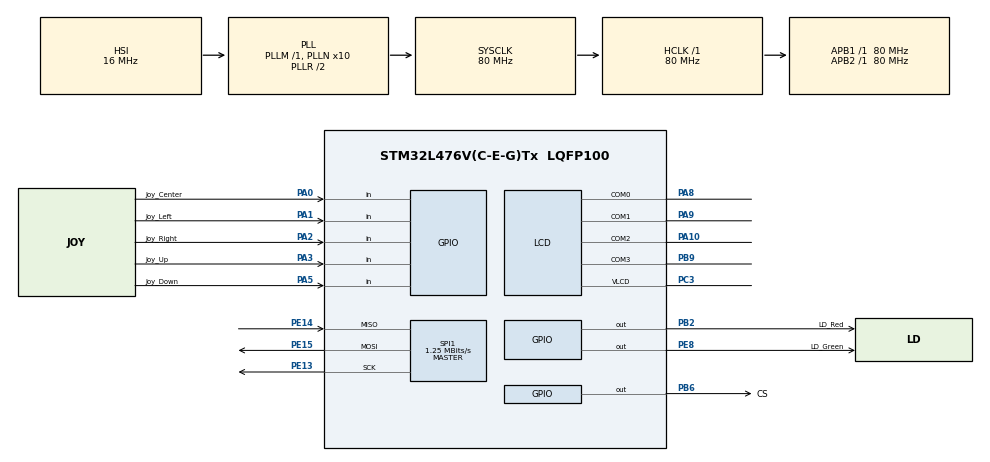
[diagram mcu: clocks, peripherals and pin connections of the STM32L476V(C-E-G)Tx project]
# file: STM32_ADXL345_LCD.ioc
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Mcu.Family=STM32L4
Mcu.Name=STM32L476V(C-E-G)Tx
Mcu.Package=LQFP100
NVIC.PriorityGroup=NVIC_PRIORITYGROUP_4
NVIC.TIM4_IRQn=true\:0\:0\:false\:false\:true\:true\:true\:true
NVIC.TIM6_DAC_IRQn=true\:0\:0\:false\:false\:true\:true\:true\:true
NVIC.TIM7_IRQn=true\:0\:0\:false\:false\:true\:true\:true\:true
PA0.GPIO_Label=Joy_Center
PA0.Signal=GPIO_Input
PA1.GPIO_Label=Joy_Left
PA1.Signal=GPIO_Input
PA10.Mode=1/4 Duty Cycle
PA10.Signal=LCD_COM2
PA13\ (JTMS-SWDIO).Mode=Serial_Wire
PA13\ (JTMS-SWDIO).Signal=SYS_JTMS-SWDIO
PA14\ (JTCK-SWCLK).Mode=Serial_Wire
PA14\ (JTCK-SWCLK).Signal=SYS_JTCK-SWCLK
PA2.GPIO_Label=Joy_Right
PA2.Signal=GPIO_Input
PA3.GPIO_Label=Joy_Up
PA3.Signal=GPIO_Input
PA5.GPIO_Label=Joy_Down
PA5.Signal=GPIO_Input
PA8.Mode=1/4 Duty Cycle
PA8.Signal=LCD_COM0
PA9.Mode=1/4 Duty Cycle
PA9.Signal=LCD_COM1
PB2.GPIO_Label=LD_Red
PB2.Signal=GPIO_Output
PB6.GPIO_Label=CS
PB6.Signal=GPIO_Output
PB9.Mode=1/4 Duty Cycle
PB9.Signal=LCD_COM3
PC14-OSC32_IN\ (PC14).Mode=LSE-External-Oscillator
PC14-OSC32_IN\ (PC14).Signal=RCC_OSC32_IN
PC15-OSC32_OUT\ (PC15).Mode=LSE-External-Oscillator
PC15-OSC32_OUT\ (PC15).Signal=RCC_OSC32_OUT
PC3.Mode=1/4 Duty Cycle
PC3.Signal=LCD_VLCD
PE13.Mode=Full_Duplex_Master
PE13.Signal=SPI1_SCK
PE14.Mode=Full_Duplex_Master
PE14.Signal=SPI1_MISO
PE15.Mode=Full_Duplex_Master
PE15.Signal=SPI1_MOSI
PE8.GPIO_Label=LD_Green
PE8.Signal=GPIO_Output
ProjectManager.HeapSize=0x200
ProjectManager.StackSize=0x400
ProjectManager.TargetToolchain=STM32CubeIDE
RCC.ADCFreq_Value=64000000
RCC.AHBFreq_Value=80000000
RCC.APB1Freq_Value=80000000
RCC.APB1TimFreq_Value=80000000
RCC.APB2Freq_Value=80000000
RCC.APB2TimFreq_Value=80000000
RCC.CortexFreq_Value=80000000
RCC.HCLKFreq_Value=80000000
RCC.HSE_VALUE=8000000
RCC.HSI_VALUE=16000000
RCC.MSI_VALUE=4000000
RCC.PLLN=10
RCC.PLLSourceVirtual=RCC_PLLSOURCE_HSI
RCC.SYSCLKFreq_VALUE=80000000
RCC.SYSCLKSource=RCC_SYSCLKSOURCE_PLLCLK
RCC.USBFreq_Value=64000000
RCC.VCOOutputFreq_Value=160000000
SPI1.BaudRatePrescaler=SPI_BAUDRATEPRESCALER_64
SPI1.CLKPhase=SPI_PHASE_2EDGE
SPI1.CLKPolarity=SPI_POLARITY_HIGH
SPI1.CalculateBaudRate=1.25 MBits/s
SPI1.DataSize=SPI_DATASIZE_8BIT
SPI1.Direction=SPI_DIRECTION_2LINES
SPI1.Mode=SPI_MODE_MASTER
SPI1.VirtualType=VM_MASTER
TIM4.Period=1000-1
TIM4.Prescaler=8000-1
TIM6.Period=1000-1
TIM6.Prescaler=25-1
TIM7.Period=1000-1
TIM7.Prescaler=25-1
VP_TIM4_VS_ClockSourceINT.Mode=Internal
VP_TIM6_VS_ClockSourceINT.Mode=Enable_Timer
VP_TIM7_VS_ClockSourceINT.Mode=Enable_Timer
board=custom

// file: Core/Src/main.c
/* USER CODE BEGIN Header */
/**
  ******************************************************************************
  * @file           : main.c
  * @brief          : Main program body
  ******************************************************************************
  * @attention
  *
  * Copyright (c) 2024 STMicroelectronics.
  * All rights reserved.
  *
  * This software is licensed under terms that can be found in the LICENSE file
  * in the root directory of this software component.
  * If no LICENSE file comes with this software, it is provided AS-IS.
  *
  ******************************************************************************
  */
/* USER CODE END Header */
#include "main.h"

/* USER CODE BEGIN Includes */
#include <stdint.h>
#include <stdio.h>

#include "stm32l476g_discovery_glass_lcd.h"

#include "adxl.h"
#include "utils.h"

/* USER CODE END Includes */

LCD_HandleTypeDef hlcd;

SPI_HandleTypeDef hspi1;

TIM_HandleTypeDef htim4;
TIM_HandleTypeDef htim6;
TIM_HandleTypeDef htim7;

void SystemClock_Config(void);
static void MX_GPIO_Init(void);
static void MX_LCD_Init(void);
static void MX_SPI1_Init(void);
static void MX_TIM6_Init(void);
static void MX_TIM7_Init(void);
static void MX_TIM4_Init(void);

/* USER CODE BEGIN 0 */

uint8_t adxl_address = 0x32;

// Flags
uint8_t adxl_read_state = 0; // read value from adxl 3200 hz
uint8_t lcd_image_value_state = 0; //send value to lcd 10 on 1 second
uint8_t adxl_counter_state = 0; // counter state
//
// counter
unsigned long long time_counter = 0; // count microseconds

uint8_t data_rec[6]; // buffer for analog value
int16_t  x,y,z;
float xg,yg,zg;

float acceleration = 0;

char acc_conv_value[7]; // Need space for the null terminator '\0'

void callback_image_value()
{
	acceleration = calculate_acceleration(xg,yg,zg);

	sprintf(acc_conv_value, "%.4f", acceleration);

	BSP_LCD_GLASS_DisplayString((uint8_t *)acc_conv_value);
}
// rows column
#define rows 50
#define column 4

float buffer_values[rows][column];

uint8_t rows_count  = 0;

void callback_adxl_read(){
    adxl_read(&hspi1,adxl_address, data_rec);

	 x = ((data_rec[1]<<8)| data_rec[0]);
	 y = ((data_rec[3]<<8)| data_rec[2]);
	 z = ((data_rec[5]<<8)| data_rec[4]);

	 xg = x * 0.0078;
	 yg = y * 0.0078;
	 zg = z * 0.0078;

	 if(rows_count <= rows)
	 {
		 buffer_values[rows_count][0] = xg;
		 buffer_values[rows_count][1] = yg;
		 buffer_values[rows_count][2] = zg;
		 buffer_values[rows_count][column -1] = time_counter;// last value

		 rows_count += 1;
	 }
}

// Interrupt
void HAL_TIM_PeriodElapsedCallback(TIM_HandleTypeDef *htim)
{
	// counter
	if(htim->Instance == TIM4)
	{
		lcd_image_value_state = 1;
		HAL_GPIO_TogglePin(GPIOE, GPIO_PIN_8);
	}
	// read from adxl
	if(htim->Instance == TIM6)
	{
		adxl_read_state=1;
	}

	if(htim->Instance == TIM7)
	{
		adxl_counter_state = 1;

	}
};

/* USER CODE END 0 */

int main(void)
{

  /* MCU Configuration--------------------------------------------------------*/

  /* Reset of all peripherals, Initializes the Flash interface and the Systick. */
  HAL_Init();

  /* Configure the system clock */
  SystemClock_Config();

  /* Initialize all configured peripherals */
  MX_GPIO_Init();
  MX_LCD_Init();
  MX_SPI1_Init();
  MX_TIM6_Init();
  MX_TIM7_Init();
  MX_TIM4_Init();
  /* USER CODE BEGIN 2 */

  //Init timers
  HAL_TIM_Base_Start_IT(&htim4);
  HAL_TIM_Base_Start_IT(&htim6);
  HAL_TIM_Base_Start_IT(&htim7);

  // init LCD
  BSP_LCD_GLASS_Init();
  BSP_LCD_GLASS_Contrast(5);

 // init adxl
  // !!! need to init adxl !!!
  adxl_init(&hspi1);
  /* USER CODE END 2 */

  /* Infinite loop */
  while (1)
  {

    /* USER CODE BEGIN 3 */
	  if(adxl_counter_state == 1)
	  {
		  time_counter ++;
		  adxl_counter_state = 0;
	  }

	  if(adxl_read_state == 1)
	  {
		callback_adxl_read();
		adxl_read_state=0;
	  }

	  if(lcd_image_value_state == 1)
	  {
		 callback_image_value();
		 lcd_image_value_state = 0;
	  }

  }
  /* USER CODE END 3 */
}

void SystemClock_Config(void)
{
  RCC_OscInitTypeDef RCC_OscInitStruct = {0};
  RCC_ClkInitTypeDef RCC_ClkInitStruct = {0};

  /** Configure the main internal regulator output voltage
  */
  if (HAL_PWREx_ControlVoltageScaling(PWR_REGULATOR_VOLTAGE_SCALE1) != HAL_OK)
  {
    Error_Handler();
  }

  /** Initializes the RCC Oscillators according to the specified parameters
  * in the RCC_OscInitTypeDef structure.
  */
  RCC_OscInitStruct.OscillatorType = RCC_OSCILLATORTYPE_HSI|RCC_OSCILLATORTYPE_LSI;
  RCC_OscInitStruct.HSIState = RCC_HSI_ON;
  RCC_OscInitStruct.HSICalibrationValue = RCC_HSICALIBRATION_DEFAULT;
  RCC_OscInitStruct.LSIState = RCC_LSI_ON;
  RCC_OscInitStruct.PLL.PLLState = RCC_PLL_ON;
  RCC_OscInitStruct.PLL.PLLSource = RCC_PLLSOURCE_HSI;
  RCC_OscInitStruct.PLL.PLLM = 1;
  RCC_OscInitStruct.PLL.PLLN = 10;
  RCC_OscInitStruct.PLL.PLLP = RCC_PLLP_DIV7;
  RCC_OscInitStruct.PLL.PLLQ = RCC_PLLQ_DIV2;
  RCC_OscInitStruct.PLL.PLLR = RCC_PLLR_DIV2;
  if (HAL_RCC_OscConfig(&RCC_OscInitStruct) != HAL_OK)
  {
    Error_Handler();
  }

  /** Initializes the CPU, AHB and APB buses clocks
  */
  RCC_ClkInitStruct.ClockType = RCC_CLOCKTYPE_HCLK|RCC_CLOCKTYPE_SYSCLK
                              |RCC_CLOCKTYPE_PCLK1|RCC_CLOCKTYPE_PCLK2;
  RCC_ClkInitStruct.SYSCLKSource = RCC_SYSCLKSOURCE_PLLCLK;
  RCC_ClkInitStruct.AHBCLKDivider = RCC_SYSCLK_DIV1;
  RCC_ClkInitStruct.APB1CLKDivider = RCC_HCLK_DIV1;
  RCC_ClkInitStruct.APB2CLKDivider = RCC_HCLK_DIV1;

  if (HAL_RCC_ClockConfig(&RCC_ClkInitStruct, FLASH_LATENCY_4) != HAL_OK)
  {
    Error_Handler();
  }
}

static void MX_LCD_Init(void)
{

  hlcd.Instance = LCD;
  hlcd.Init.Prescaler = LCD_PRESCALER_1;
  hlcd.Init.Divider = LCD_DIVIDER_16;
  hlcd.Init.Duty = LCD_DUTY_1_4;
  hlcd.Init.Bias = LCD_BIAS_1_4;
  hlcd.Init.VoltageSource = LCD_VOLTAGESOURCE_INTERNAL;
  hlcd.Init.Contrast = LCD_CONTRASTLEVEL_0;
  hlcd.Init.DeadTime = LCD_DEADTIME_0;
  hlcd.Init.PulseOnDuration = LCD_PULSEONDURATION_0;
  hlcd.Init.MuxSegment = LCD_MUXSEGMENT_DISABLE;
  hlcd.Init.BlinkMode = LCD_BLINKMODE_OFF;
  hlcd.Init.BlinkFrequency = LCD_BLINKFREQUENCY_DIV8;
  hlcd.Init.HighDrive = LCD_HIGHDRIVE_DISABLE;
  if (HAL_LCD_Init(&hlcd) != HAL_OK)
  {
    Error_Handler();
  }

}

static void MX_SPI1_Init(void)
{

  /* SPI1 parameter configuration*/
  hspi1.Instance = SPI1;
  hspi1.Init.Mode = SPI_MODE_MASTER;
  hspi1.Init.Direction = SPI_DIRECTION_2LINES;
  hspi1.Init.DataSize = SPI_DATASIZE_8BIT;
  hspi1.Init.CLKPolarity = SPI_POLARITY_HIGH;
  hspi1.Init.CLKPhase = SPI_PHASE_2EDGE;
  hspi1.Init.NSS = SPI_NSS_SOFT;
  hspi1.Init.BaudRatePrescaler = SPI_BAUDRATEPRESCALER_64;
  hspi1.Init.FirstBit = SPI_FIRSTBIT_MSB;
  hspi1.Init.TIMode = SPI_TIMODE_DISABLE;
  hspi1.Init.CRCCalculation = SPI_CRCCALCULATION_DISABLE;
  hspi1.Init.CRCPolynomial = 7;
  hspi1.Init.CRCLength = SPI_CRC_LENGTH_DATASIZE;
  hspi1.Init.NSSPMode = SPI_NSS_PULSE_DISABLE;
  if (HAL_SPI_Init(&hspi1) != HAL_OK)
  {
    Error_Handler();
  }

}

static void MX_TIM4_Init(void)
{

  TIM_ClockConfigTypeDef sClockSourceConfig = {0};
  TIM_MasterConfigTypeDef sMasterConfig = {0};

  htim4.Instance = TIM4;
  htim4.Init.Prescaler = 8000-1;
  htim4.Init.CounterMode = TIM_COUNTERMODE_UP;
  htim4.Init.Period = 1000-1;
  htim4.Init.ClockDivision = TIM_CLOCKDIVISION_DIV1;
  htim4.Init.AutoReloadPreload = TIM_AUTORELOAD_PRELOAD_DISABLE;
  if (HAL_TIM_Base_Init(&htim4) != HAL_OK)
  {
    Error_Handler();
  }
  sClockSourceConfig.ClockSource = TIM_CLOCKSOURCE_INTERNAL;
  if (HAL_TIM_ConfigClockSource(&htim4, &sClockSourceConfig) != HAL_OK)
  {
    Error_Handler();
  }
  sMasterConfig.MasterOutputTrigger = TIM_TRGO_RESET;
  sMasterConfig.MasterSlaveMode = TIM_MASTERSLAVEMODE_DISABLE;
  if (HAL_TIMEx_MasterConfigSynchronization(&htim4, &sMasterConfig) != HAL_OK)
  {
    Error_Handler();
  }

}

static void MX_TIM6_Init(void)
{

  TIM_MasterConfigTypeDef sMasterConfig = {0};

  htim6.Instance = TIM6;
  htim6.Init.Prescaler = 25-1;
  htim6.Init.CounterMode = TIM_COUNTERMODE_UP;
  htim6.Init.Period = 1000-1;
  htim6.Init.AutoReloadPreload = TIM_AUTORELOAD_PRELOAD_DISABLE;
  if (HAL_TIM_Base_Init(&htim6) != HAL_OK)
  {
    Error_Handler();
  }
  sMasterConfig.MasterOutputTrigger = TIM_TRGO_RESET;
  sMasterConfig.MasterSlaveMode = TIM_MASTERSLAVEMODE_DISABLE;
  if (HAL_TIMEx_MasterConfigSynchronization(&htim6, &sMasterConfig) != HAL_OK)
  {
    Error_Handler();
  }

}

static void MX_TIM7_Init(void)
{

  TIM_MasterConfigTypeDef sMasterConfig = {0};

  htim7.Instance = TIM7;
  htim7.Init.Prescaler = 25-1;
  htim7.Init.CounterMode = TIM_COUNTERMODE_UP;
  htim7.Init.Period = 1000-1;
  htim7.Init.AutoReloadPreload = TIM_AUTORELOAD_PRELOAD_DISABLE;
  if (HAL_TIM_Base_Init(&htim7) != HAL_OK)
  {
    Error_Handler();
  }
  sMasterConfig.MasterOutputTrigger = TIM_TRGO_RESET;
  sMasterConfig.MasterSlaveMode = TIM_MASTERSLAVEMODE_DISABLE;
  if (HAL_TIMEx_MasterConfigSynchronization(&htim7, &sMasterConfig) != HAL_OK)
  {
    Error_Handler();
  }

}

static void MX_GPIO_Init(void)
{
  GPIO_InitTypeDef GPIO_InitStruct = {0};

  /* GPIO Ports Clock Enable */
  __HAL_RCC_GPIOC_CLK_ENABLE();
  __HAL_RCC_GPIOA_CLK_ENABLE();
  __HAL_RCC_GPIOB_CLK_ENABLE();
  __HAL_RCC_GPIOE_CLK_ENABLE();

  /*Configure GPIO pin Output Level */
  HAL_GPIO_WritePin(GPIOB, LD_Red_Pin|CS_Pin, GPIO_PIN_RESET);

  /*Configure GPIO pin Output Level */
  HAL_GPIO_WritePin(LD_Green_GPIO_Port, LD_Green_Pin, GPIO_PIN_RESET);

  /*Configure GPIO pins : Joy_Center_Pin Joy_Left_Pin Joy_Right_Pin Joy_Up_Pin
                           Joy_Down_Pin */
  GPIO_InitStruct.Pin = Joy_Center_Pin|Joy_Left_Pin|Joy_Right_Pin|Joy_Up_Pin
                          |Joy_Down_Pin;
  GPIO_InitStruct.Mode = GPIO_MODE_INPUT;
  GPIO_InitStruct.Pull = GPIO_NOPULL;
  HAL_GPIO_Init(GPIOA, &GPIO_InitStruct);

  /*Configure GPIO pins : LD_Red_Pin CS_Pin */
  GPIO_InitStruct.Pin = LD_Red_Pin|CS_Pin;
  GPIO_InitStruct.Mode = GPIO_MODE_OUTPUT_PP;
  GPIO_InitStruct.Pull = GPIO_NOPULL;
  GPIO_InitStruct.Speed = GPIO_SPEED_FREQ_LOW;
  HAL_GPIO_Init(GPIOB, &GPIO_InitStruct);

  /*Configure GPIO pin : LD_Green_Pin */
  GPIO_InitStruct.Pin = LD_Green_Pin;
  GPIO_InitStruct.Mode = GPIO_MODE_OUTPUT_PP;
  GPIO_InitStruct.Pull = GPIO_NOPULL;
  GPIO_InitStruct.Speed = GPIO_SPEED_FREQ_LOW;
  HAL_GPIO_Init(LD_Green_GPIO_Port, &GPIO_InitStruct);

}

void Error_Handler(void)
{
  __disable_irq();
  while (1)
  {
  }
}
